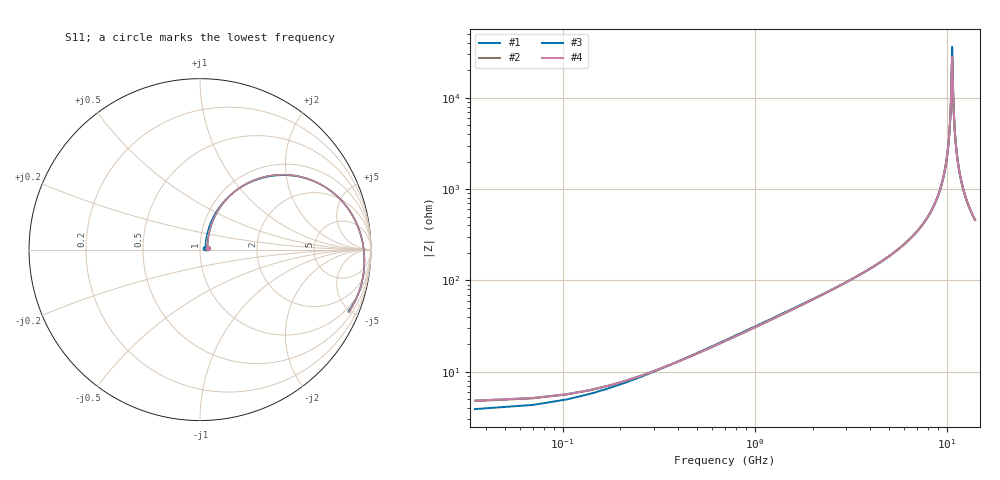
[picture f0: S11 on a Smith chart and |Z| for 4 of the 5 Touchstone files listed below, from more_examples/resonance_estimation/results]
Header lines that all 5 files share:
#  Hz  S  RI  R  50
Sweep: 35 MHz to 14 GHz
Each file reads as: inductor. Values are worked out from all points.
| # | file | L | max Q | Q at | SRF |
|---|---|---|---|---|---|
| 1 | run_L6n2_energy_limit_limit-40.s2p | 4.91 nH | 27.7 | 6.545 GHz | 10.64 GHz |
| 2 | run_L6n2_energy_limit_limit-50.s2p | 4.77 nH | 27.3 | 7.42 GHz | 10.64 GHz |
| 3 | run_L6n2_energy_limit_limit-60.s2p | 4.76 nH | 27.3 | 7.49 GHz | 10.64 GHz |
| 4 | run_L6n2_energy_limit_limit-90.s2p | 4.76 nH | 27.3 | 7.42 GHz | 10.64 GHz |
| 5 | run_L6n2_energy_limit_resonance_estimation.s2p | 4.76 nH | 27.3 | 7.42 GHz | 10.64 GHz |
